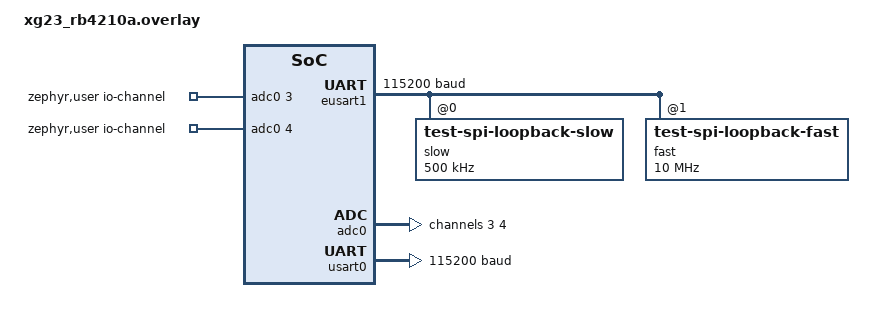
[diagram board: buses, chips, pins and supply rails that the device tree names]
/*
 * Copyright (c) 2024 Silicon Laboratories, Inc.
 *
 * SPDX-License-Identifier: Apache-2.0
 */

&dma0 {
	status = "okay";
};

tst_dma0: &dma0 {};

#include <zephyr/dt-bindings/pinctrl/silabs/xg23-pinctrl.h>

&eusart1 {
	dmas = <&dma0 DMA_REQSEL_EUSART1TXFL>,
	       <&dma0 DMA_REQSEL_EUSART1RXFL>;
	dma-names = "tx", "rx";
	#address-cells = <1>;
	#size-cells = <0>;
	pinctrl-0 = <&eusart1_default>;
	pinctrl-names = "default";
	status = "okay";
	cs-gpios = <&gpioc 0 GPIO_ACTIVE_LOW>;
	slow@0 {
		compatible = "test-spi-loopback-slow";
		reg = <0>;
		spi-max-frequency = <500000>;
	};
	fast@1 {
		compatible = "test-spi-loopback-fast";
		reg = <1>;
		spi-max-frequency = <10000000>;
	};
};

#include <zephyr/dt-bindings/adc/silabs-adc.h>

/ {
	zephyr,user {
		io-channels = <&adc0 3>, <&adc0 4>;
	};
};

&pinctrl {
	adc0_default: adc0_default {
		group0 {
			silabs,analog-bus = <ABUS_BODD0_IADC0>;
		};
	};
};

&adc0 {
	pinctrl-0 = <&adc0_default>;
	pinctrl-names = "default";
	dmas = <&dma0 DMA_REQSEL_IADC0IADC_SCAN>;
	#address-cells = <1>;
	#size-cells = <0>;
	status = "okay";
	channel@3 {
		reg = <3>;
		zephyr,gain = "ADC_GAIN_1";
		zephyr,reference = "ADC_REF_INTERNAL";
		zephyr,acquisition-time = <ADC_ACQ_TIME_DEFAULT>;
		zephyr,resolution = <12>;
		zephyr,input-positive = <IADC_INPUT_AVDD>;
	};
	channel@4 {
		reg = <4>;
		zephyr,gain = "ADC_GAIN_1";
		zephyr,reference = "ADC_REF_VDD_1";
		zephyr,vref-mv = <3300>;
		zephyr,acquisition-time = <ADC_ACQ_TIME_DEFAULT>;
		zephyr,resolution = <12>;
		zephyr,input-positive = <IADC_INPUT_PB3>;
	};
};

/ {
	chosen {
		zephyr,console = &usart0;
		zephyr,shell-uart = &usart0;
		zephyr,uart-pipe = &usart0;
		/delete-property/ zephyr,display;
	};
};

&pinctrl {
	eusart1_default: eusart1_default {
		group0 {
			pins = <EUSART1_TX_PC1>;
			drive-push-pull;
			output-high;
		};
		group1 {
			pins = <EUSART1_RX_PC2>;
			input-enable;
			silabs,input-filter;
		};
	};
	usart0_default: usart0_default {
		group0 {
			pins = <USART0_TX_PA8>;
			drive-push-pull;
			output-high;
		};
		group1 {
			pins = <USART0_RX_PA9>;
			input-enable;
			silabs,input-filter;
		};
	};
};

dut: &eusart1 {
	compatible = "silabs,eusart-uart";
	dmas = <&dma0 DMA_REQSEL_EUSART1TXFL>,
	       <&dma0 DMA_REQSEL_EUSART1RXFL>;
	dma-names = "tx", "rx";
	current-speed = <115200>;
	pinctrl-0 = <&eusart1_default>;
	pinctrl-names = "default";
	status = "okay";
	/delete-property/ cs-gpios;
};

/delete-node/ &ls0xx_ls013b7dh03;

/delete-node/ &mx25r80;

&eusart0 {
	status = "disabled";
};

&usart0 {
	compatible = "silabs,usart-uart";
	current-speed = <115200>;
	pinctrl-0 = <&usart0_default>;
	pinctrl-names = "default";
	status = "okay";
};
